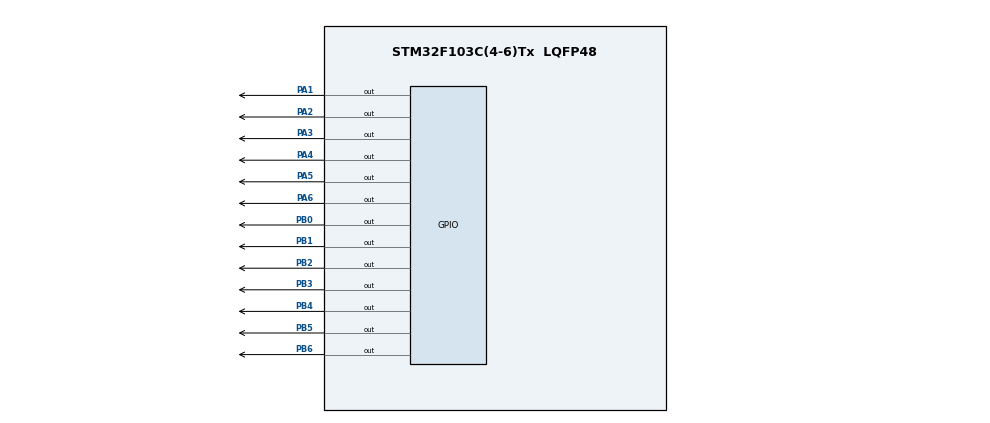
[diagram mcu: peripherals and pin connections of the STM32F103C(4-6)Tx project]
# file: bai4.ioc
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Mcu.Family=STM32F1
Mcu.Name=STM32F103C(4-6)Tx
Mcu.Package=LQFP48
NVIC.PriorityGroup=NVIC_PRIORITYGROUP_4
PA1.Signal=GPIO_Output
PA2.Signal=GPIO_Output
PA3.Signal=GPIO_Output
PA4.Signal=GPIO_Output
PA5.Signal=GPIO_Output
PA6.Signal=GPIO_Output
PB0.Signal=GPIO_Output
PB1.Signal=GPIO_Output
PB2.Signal=GPIO_Output
PB3.Signal=GPIO_Output
PB4.Signal=GPIO_Output
PB5.Signal=GPIO_Output
PB6.Signal=GPIO_Output
ProjectManager.HeapSize=0x200
ProjectManager.StackSize=0x400
ProjectManager.TargetToolchain=STM32CubeIDE
RCC.APB1Freq_Value=8000000
RCC.APB2Freq_Value=8000000
board=custom

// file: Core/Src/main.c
/* USER CODE BEGIN Header */
/**
  ******************************************************************************
  * @file           : main.c
  * @brief          : Main program body
  ******************************************************************************
  * @attention
  *
  * Copyright (c) 2022 STMicroelectronics.
  * All rights reserved.
  *
  * This software is licensed under terms that can be found in the LICENSE file
  * in the root directory of this software component.
  * If no LICENSE file comes with this software, it is provided AS-IS.
  *
  ******************************************************************************
  */
/* USER CODE END Header */
#include "main.h"

void SystemClock_Config(void);
static void MX_GPIO_Init(void);

/* USER CODE BEGIN 0 */
void display7SEG(int num);
/* USER CODE END 0 */

int main(void)
{

  /* MCU Configuration--------------------------------------------------------*/

  /* Reset of all peripherals, Initializes the Flash interface and the Systick. */
  HAL_Init();

  /* Configure the system clock */
  SystemClock_Config();

  /* Initialize all configured peripherals */
  MX_GPIO_Init();

  /* Infinite loop */
  /* USER CODE BEGIN WHILE */
//  int counter = 10;
//  int reset_counter = 10;
//  int flag1, flag2; // red = 0 yellow = 1 green = 2
  while (1)
  {
	  for (int i = 0; i < 10; i++) {
		  display7SEG(i);
		  HAL_Delay(1000);
	  }
//	  if (counter <= 0) {
//		  counter = reset_counter;
//	  }
//	  if (counter > 5) {
//		  flag1 = 0;
//	  } else if (counter > 3) {
//		  flag1 = 1;
//	  } else {
//		  flag1 = 2;
//	  }
//	  if (counter > 7) {
//		  flag2 = 2;
//	  } else if (counter > 5) {
//		  flag2 = 1;
//	  } else {
//		  flag2 = 0;
//	  }
//	  if (flag1 == 0) {
//		  HAL_GPIO_WritePin(GPIOA, GPIO_PIN_1, SET);
//		  HAL_GPIO_WritePin(GPIOA, GPIO_PIN_2, RESET);
//		  HAL_GPIO_WritePin(GPIOA, GPIO_PIN_3, RESET);
//	  } else if (flag1 == 1) {
//		  HAL_GPIO_WritePin(GPIOA, GPIO_PIN_1, RESET);
//		  HAL_GPIO_WritePin(GPIOA, GPIO_PIN_2, SET);
//		  HAL_GPIO_WritePin(GPIOA, GPIO_PIN_3, RESET);
//	  } else if (flag1 == 2) {
//		  HAL_GPIO_WritePin(GPIOA, GPIO_PIN_1, RESET);
//		  HAL_GPIO_WritePin(GPIOA, GPIO_PIN_2, RESET);
//		  HAL_GPIO_WritePin(GPIOA, GPIO_PIN_3, SET);
//	  }
//	  if (flag2 == 0) {
//		  HAL_GPIO_WritePin(GPIOA, GPIO_PIN_4, SET);
//		  HAL_GPIO_WritePin(GPIOA, GPIO_PIN_5, RESET);
//		  HAL_GPIO_WritePin(GPIOA, GPIO_PIN_6, RESET);
//	  } else if (flag2 == 1) {
//		  HAL_GPIO_WritePin(GPIOA, GPIO_PIN_4, RESET);
//		  HAL_GPIO_WritePin(GPIOA, GPIO_PIN_5, SET);
//		  HAL_GPIO_WritePin(GPIOA, GPIO_PIN_6, RESET);
//	  } else if (flag2 == 2) {
//		  HAL_GPIO_WritePin(GPIOA, GPIO_PIN_4, RESET);
//		  HAL_GPIO_WritePin(GPIOA, GPIO_PIN_5, RESET);
//		  HAL_GPIO_WritePin(GPIOA, GPIO_PIN_6, SET);
//	  }
//	  counter--;
//	  HAL_Delay(1000);
    /* USER CODE END WHILE */

  }
}

void SystemClock_Config(void)
{
  RCC_OscInitTypeDef RCC_OscInitStruct = {0};
  RCC_ClkInitTypeDef RCC_ClkInitStruct = {0};

  /** Initializes the RCC Oscillators according to the specified parameters
  * in the RCC_OscInitTypeDef structure.
  */
  RCC_OscInitStruct.OscillatorType = RCC_OSCILLATORTYPE_HSI;
  RCC_OscInitStruct.HSIState = RCC_HSI_ON;
  RCC_OscInitStruct.HSICalibrationValue = RCC_HSICALIBRATION_DEFAULT;
  RCC_OscInitStruct.PLL.PLLState = RCC_PLL_NONE;
  if (HAL_RCC_OscConfig(&RCC_OscInitStruct) != HAL_OK)
  {
    Error_Handler();
  }

  /** Initializes the CPU, AHB and APB buses clocks
  */
  RCC_ClkInitStruct.ClockType = RCC_CLOCKTYPE_HCLK|RCC_CLOCKTYPE_SYSCLK
                              |RCC_CLOCKTYPE_PCLK1|RCC_CLOCKTYPE_PCLK2;
  RCC_ClkInitStruct.SYSCLKSource = RCC_SYSCLKSOURCE_HSI;
  RCC_ClkInitStruct.AHBCLKDivider = RCC_SYSCLK_DIV1;
  RCC_ClkInitStruct.APB1CLKDivider = RCC_HCLK_DIV1;
  RCC_ClkInitStruct.APB2CLKDivider = RCC_HCLK_DIV1;

  if (HAL_RCC_ClockConfig(&RCC_ClkInitStruct, FLASH_LATENCY_0) != HAL_OK)
  {
    Error_Handler();
  }
}

static void MX_GPIO_Init(void)
{
  GPIO_InitTypeDef GPIO_InitStruct = {0};

  /* GPIO Ports Clock Enable */
  __HAL_RCC_GPIOA_CLK_ENABLE();
  __HAL_RCC_GPIOB_CLK_ENABLE();

  /*Configure GPIO pin Output Level */
  HAL_GPIO_WritePin(GPIOA, GPIO_PIN_1|GPIO_PIN_2|GPIO_PIN_3|GPIO_PIN_4
                          |GPIO_PIN_5|GPIO_PIN_6, GPIO_PIN_RESET);

  /*Configure GPIO pin Output Level */
  HAL_GPIO_WritePin(GPIOB, GPIO_PIN_0|GPIO_PIN_1|GPIO_PIN_2|GPIO_PIN_3
                          |GPIO_PIN_4|GPIO_PIN_5|GPIO_PIN_6, GPIO_PIN_RESET);

  /*Configure GPIO pins : PA1 PA2 PA3 PA4
                           PA5 PA6 */
  GPIO_InitStruct.Pin = GPIO_PIN_1|GPIO_PIN_2|GPIO_PIN_3|GPIO_PIN_4
                          |GPIO_PIN_5|GPIO_PIN_6;
  GPIO_InitStruct.Mode = GPIO_MODE_OUTPUT_PP;
  GPIO_InitStruct.Pull = GPIO_NOPULL;
  GPIO_InitStruct.Speed = GPIO_SPEED_FREQ_LOW;
  HAL_GPIO_Init(GPIOA, &GPIO_InitStruct);

  /*Configure GPIO pins : PB0 PB1 PB2 PB3
                           PB4 PB5 PB6 */
  GPIO_InitStruct.Pin = GPIO_PIN_0|GPIO_PIN_1|GPIO_PIN_2|GPIO_PIN_3
                          |GPIO_PIN_4|GPIO_PIN_5|GPIO_PIN_6;
  GPIO_InitStruct.Mode = GPIO_MODE_OUTPUT_PP;
  GPIO_InitStruct.Pull = GPIO_NOPULL;
  GPIO_InitStruct.Speed = GPIO_SPEED_FREQ_LOW;
  HAL_GPIO_Init(GPIOB, &GPIO_InitStruct);

}

/* USER CODE BEGIN 4 */
void display7SEG(int num) {
	switch (num) {
		case 0:
			GPIOB->ODR = 0x0040; // 0100 0000
			break;
		case 1:
			GPIOB->ODR = 0x0079; // 0111 1001
			break;
		case 2:
			GPIOB->ODR = 0x0024; // 0010 0100
			break;
		case 3:
			GPIOB->ODR = 0x0030; // 0011 0000
			break;
		case 4:
			GPIOB->ODR = 0x0019; // 0001 1001
			break;
		case 5:
			GPIOB->ODR = 0x0012; // 0001 0010
			break;
		case 6:
			GPIOB->ODR = 0x0002; // 0000 0010
			break;
		case 7:
			GPIOB->ODR = 0x0078; // 0111 1000
			break;
		case 8:
			GPIOB->ODR = 0x0000; // 0000 0000
			break;
		case 9:
			GPIOB->ODR = 0x0010; // 0001 0000
			break;
		default:
			break;
	}
}
/* USER CODE END 4 */

void Error_Handler(void)
{
  __disable_irq();
  while (1)
  {
  }
}
